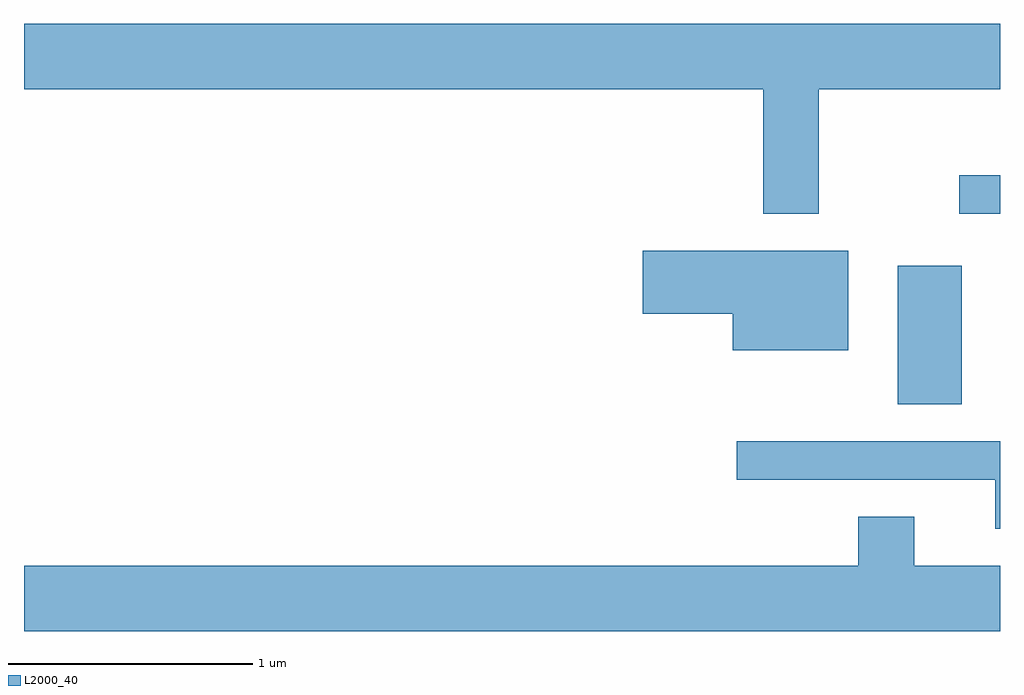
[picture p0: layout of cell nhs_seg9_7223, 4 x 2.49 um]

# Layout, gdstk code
import gdstk
lib = gdstk.Library(unit=1e-6, precision=1e-09)
def R(c, l, rs):  # rectangles x0, y0, x1, y1
    for r in rs: c.add(gdstk.rectangle(r[:2], r[2:], *l))
def P(c, l, *ps):  # polygons
    for p in ps: c.add(gdstk.Polygon(p, *l))
L2000_40 = (2000, 40)

nhs_seg9_7223 = lib.new_cell('nhs_seg9_7223')
R(nhs_seg9_7223, L2000_40, [(403.191,1966.106,403.454,1966.674), (403.443,1966.886,403.611,1967.044)])
P(nhs_seg9_7223, L2000_40, [(402.869,1967.396),(403.611,1967.396),(403.611,1967.664),(399.611,1967.664),(399.611,1967.396),(402.641,1967.396),(402.641,1966.886),(402.869,1966.886)],
  [(402.989,1966.734),(402.146,1966.734),(402.146,1966.476),(402.516,1966.476),(402.516,1966.326),(402.989,1966.326)],
  [(403.611,1965.954),(402.533,1965.954),(402.533,1965.796),(403.591,1965.796),(403.591,1965.596),(403.611,1965.596)],
  [(403.031,1965.644),(403.031,1965.444),(399.611,1965.444),(399.611,1965.176),(403.611,1965.176),(403.611,1965.444),(403.259,1965.444),(403.259,1965.644)])

lib.write_gds('nhs_seg9_7223.gds')
